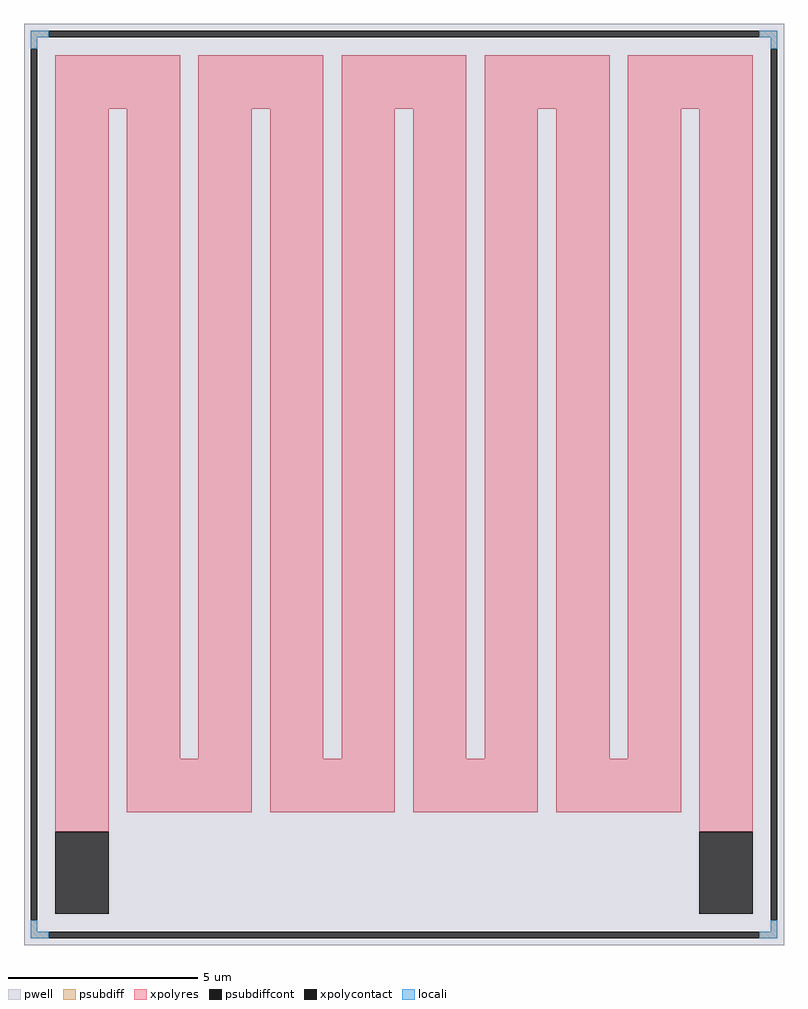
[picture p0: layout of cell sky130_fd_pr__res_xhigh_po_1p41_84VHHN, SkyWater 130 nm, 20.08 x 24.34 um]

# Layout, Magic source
magic
tech sky130A
<< pwell >>
rect -1004 -1217 1004 1217
<< psubdiff >>
rect -986 1182 -938 1199
rect 938 1182 986 1199
rect -986 1151 -969 1182
rect 969 1151 986 1182
rect -986 -1182 -969 -1151
rect 969 -1182 986 -1151
rect -986 -1199 -938 -1182
rect 938 -1199 986 -1182
<< psubdiffcont >>
rect -938 1182 938 1199
rect -986 -1151 -969 1151
rect 969 -1151 986 1151
rect -938 -1199 938 -1182
<< xpolycontact >>
rect -921 -1134 -780 -918
rect 780 -1134 921 -918
<< xpolyres >>
rect -921 993 -591 1134
rect -921 -918 -780 993
rect -732 -725 -591 993
rect -543 993 -213 1134
rect -543 -725 -402 993
rect -732 -866 -402 -725
rect -354 -725 -213 993
rect -165 993 165 1134
rect -165 -725 -24 993
rect -354 -866 -24 -725
rect 24 -725 165 993
rect 213 993 543 1134
rect 213 -725 354 993
rect 24 -866 354 -725
rect 402 -725 543 993
rect 591 993 921 1134
rect 591 -725 732 993
rect 402 -866 732 -725
rect 780 -918 921 993
<< locali >>
rect -986 1182 -938 1199
rect 938 1182 986 1199
rect -986 1151 -969 1182
rect 969 1151 986 1182
rect -986 -1182 -969 -1151
rect 969 -1182 986 -1151
rect -986 -1199 -938 -1182
rect 938 -1199 986 -1182
<< properties >>
string FIXED_BBOX -977 -1190 977 1190
string gencell sky130_fd_pr__res_xhigh_po_1p41
string library sky130
string parameters w 1.410 l 20 m 1 nx 10 wmin 1.410 lmin 0.50 rho 2000 val 301.954k dummy 0 dw 0.0 term 188.2 sterm 0.0 caplen 0 wmax 1.410 guard 1 glc 1 grc 1 gtc 1 gbc 1 compatible {sky130_fd_pr__res_xhigh_po_0p35  sky130_fd_pr__res_xhigh_po_0p69 sky130_fd_pr__res_xhigh_po_1p41  sky130_fd_pr__res_xhigh_po_2p85 sky130_fd_pr__res_xhigh_po_5p73} snake 1 full_metal 1 n_guard 0 hv_guard 0 vias 1 viagb 0 viagt 0 viagl 0 viagr 0
<< end >>
